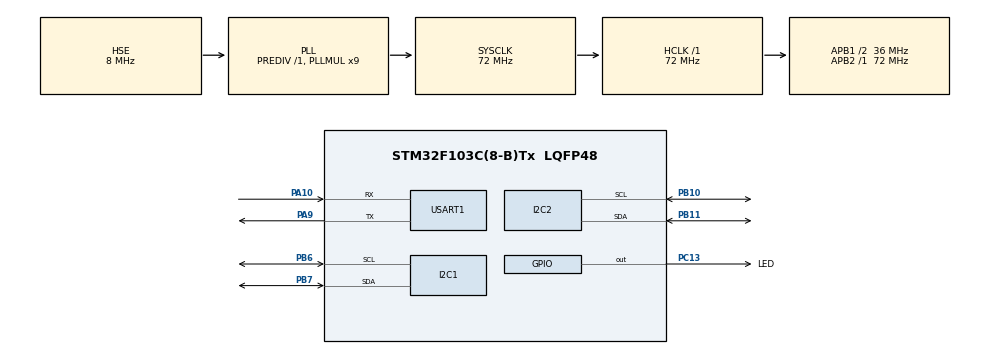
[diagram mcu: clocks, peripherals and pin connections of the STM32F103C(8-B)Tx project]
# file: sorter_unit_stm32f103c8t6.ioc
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I2C1.I2C_Mode=I2C_Fast
I2C1.NoStretchMode=I2C_NOSTRETCH_ENABLE
Mcu.Family=STM32F1
Mcu.Name=STM32F103C(8-B)Tx
Mcu.Package=LQFP48
NVIC.I2C1_ER_IRQn=true\:0\:0\:false\:false\:true\:true\:true\:true
NVIC.I2C1_EV_IRQn=true\:0\:0\:false\:false\:true\:true\:true\:true
NVIC.PriorityGroup=NVIC_PRIORITYGROUP_4
PA10.Mode=Asynchronous
PA10.Signal=USART1_RX
PA13.Mode=Serial_Wire
PA13.Signal=SYS_JTMS-SWDIO
PA14.Mode=Serial_Wire
PA14.Signal=SYS_JTCK-SWCLK
PA9.Mode=Asynchronous
PA9.Signal=USART1_TX
PB10.Mode=I2C
PB10.Signal=I2C2_SCL
PB11.Mode=I2C
PB11.Signal=I2C2_SDA
PB6.GPIO_Mode=GPIO_MODE_AF_OD
PB6.GPIO_Speed=GPIO_SPEED_FREQ_HIGH
PB6.Mode=I2C
PB6.Signal=I2C1_SCL
PB7.GPIO_Mode=GPIO_MODE_AF_OD
PB7.GPIO_Speed=GPIO_SPEED_FREQ_HIGH
PB7.Mode=I2C
PB7.Signal=I2C1_SDA
PC13-TAMPER-RTC.GPIO_Label=LED
PC13-TAMPER-RTC.Signal=GPIO_Output
PD0-OSC_IN.Mode=HSE-External-Oscillator
PD0-OSC_IN.Signal=RCC_OSC_IN
PD1-OSC_OUT.Mode=HSE-External-Oscillator
PD1-OSC_OUT.Signal=RCC_OSC_OUT
ProjectManager.HeapSize=0x200
ProjectManager.StackSize=0x400
ProjectManager.TargetToolchain=CMake
RCC.AHBFreq_Value=72000000
RCC.APB1CLKDivider=RCC_HCLK_DIV2
RCC.APB1Freq_Value=36000000
RCC.APB1TimFreq_Value=72000000
RCC.APB2Freq_Value=72000000
RCC.APB2TimFreq_Value=72000000
RCC.HCLKFreq_Value=72000000
RCC.PLLMUL=RCC_PLL_MUL9
RCC.PLLSourceVirtual=RCC_PLLSOURCE_HSE
RCC.SYSCLKFreq_VALUE=72000000
RCC.SYSCLKSource=RCC_SYSCLKSOURCE_PLLCLK
RCC.USBFreq_Value=72000000
USART1.VirtualMode=VM_ASYNC
board=custom

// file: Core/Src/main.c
/* USER CODE BEGIN Header */
/**
  ******************************************************************************
  * @file           : main.c
  * @brief          : Main program body
  ******************************************************************************
  * @attention
  *
  * Copyright (c) 2026 STMicroelectronics.
  * All rights reserved.
  *
  * This software is licensed under terms that can be found in the LICENSE file
  * in the root directory of this software component.
  * If no LICENSE file comes with this software, it is provided AS-IS.
  *
  ******************************************************************************
  */
/* USER CODE END Header */
#include "main.h"
#include "i2c.h"
#include "usart.h"
#include "gpio.h"

/* USER CODE BEGIN Includes */
#include "tcs3472.h"
#include <stdio.h>
/* USER CODE END Includes */

/* USER CODE BEGIN PV */

uint8_t uart_tx_buffer[1];
uint8_t uart_rx_buffer[1];

/* USER CODE END PV */

void SystemClock_Config(void);

int main(void)
{

  /* MCU Configuration--------------------------------------------------------*/

  /* Reset of all peripherals, Initializes the Flash interface and the Systick. */
  HAL_Init();

  /* Configure the system clock */
  SystemClock_Config();

  /* Initialize all configured peripherals */
  MX_GPIO_Init();
  MX_I2C1_Init();
  MX_USART1_UART_Init();
  MX_I2C2_Init();
  /* USER CODE BEGIN 2 */

  uint16_t colors_data[4] = {0,0,0,0};

  // Start UART recieving
  HAL_UART_Receive_IT(&huart1,uart_rx_buffer,1);

  // Trying to init TCS3472 ("Madness is the repetition of the same action, hoping for a different result...")
  while(1)
  {
    if(tcs3472_init(&hi2c2,TCS3472_GAIN_60X,TCS3472_RGBC_TIMING_2_4_MS)==HAL_OK)
    {
      for(uint8_t i=0;i<10;i++)
      {
        HAL_GPIO_TogglePin(LED_GPIO_Port, LED_Pin);
        HAL_Delay(30);
      }
      break;
    }
  }

  /* USER CODE END 2 */

  /* Infinite loop */
  /* USER CODE BEGIN WHILE */
  while (1)
  {
    tcs3472_read_colors(&hi2c2, colors_data);

    if(colors_data[3]>256 && colors_data[1] < 400 && colors_data[2] < 400 )
    {
      HAL_GPIO_WritePin(LED_GPIO_Port, LED_Pin, GPIO_PIN_RESET);
    }
    else
    {
      HAL_GPIO_WritePin(LED_GPIO_Port, LED_Pin, GPIO_PIN_SET);
    }
    /* USER CODE END WHILE */

  }
}

void SystemClock_Config(void)
{
  RCC_OscInitTypeDef RCC_OscInitStruct = {0};
  RCC_ClkInitTypeDef RCC_ClkInitStruct = {0};

  /** Initializes the RCC Oscillators according to the specified parameters
  * in the RCC_OscInitTypeDef structure.
  */
  RCC_OscInitStruct.OscillatorType = RCC_OSCILLATORTYPE_HSE;
  RCC_OscInitStruct.HSEState = RCC_HSE_ON;
  RCC_OscInitStruct.HSEPredivValue = RCC_HSE_PREDIV_DIV1;
  RCC_OscInitStruct.HSIState = RCC_HSI_ON;
  RCC_OscInitStruct.PLL.PLLState = RCC_PLL_ON;
  RCC_OscInitStruct.PLL.PLLSource = RCC_PLLSOURCE_HSE;
  RCC_OscInitStruct.PLL.PLLMUL = RCC_PLL_MUL9;
  if (HAL_RCC_OscConfig(&RCC_OscInitStruct) != HAL_OK)
  {
    Error_Handler();
  }

  /** Initializes the CPU, AHB and APB buses clocks
  */
  RCC_ClkInitStruct.ClockType = RCC_CLOCKTYPE_HCLK|RCC_CLOCKTYPE_SYSCLK
                              |RCC_CLOCKTYPE_PCLK1|RCC_CLOCKTYPE_PCLK2;
  RCC_ClkInitStruct.SYSCLKSource = RCC_SYSCLKSOURCE_PLLCLK;
  RCC_ClkInitStruct.AHBCLKDivider = RCC_SYSCLK_DIV1;
  RCC_ClkInitStruct.APB1CLKDivider = RCC_HCLK_DIV2;
  RCC_ClkInitStruct.APB2CLKDivider = RCC_HCLK_DIV1;

  if (HAL_RCC_ClockConfig(&RCC_ClkInitStruct, FLASH_LATENCY_2) != HAL_OK)
  {
    Error_Handler();
  }
}

/* USER CODE BEGIN 4 */

void HAL_UART_RxCpltCallback(UART_HandleTypeDef *huart)
{
  if(huart->Instance==USART1)
  {
    HAL_UART_Receive_IT(&huart1,uart_rx_buffer,1);
  }
}

/* USER CODE END 4 */

void Error_Handler(void)
{
  __disable_irq();
  while (1)
  {
  }
}
